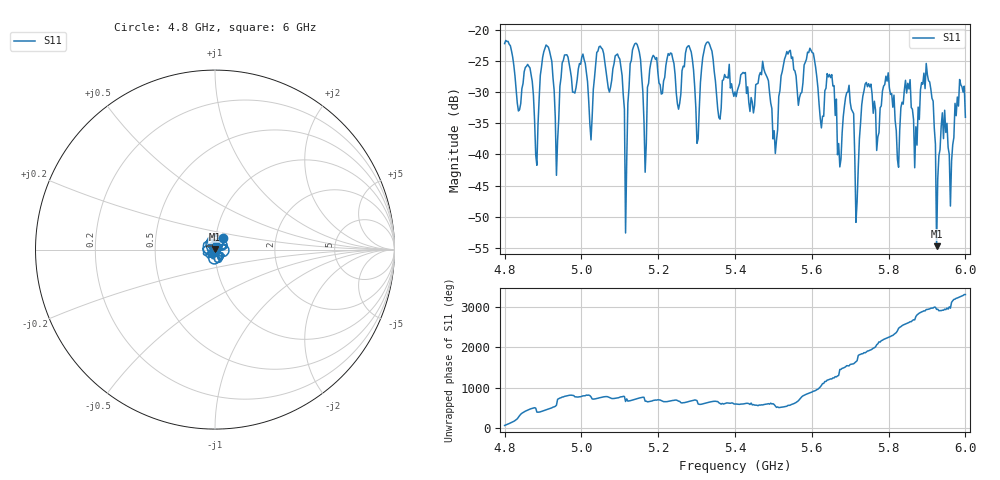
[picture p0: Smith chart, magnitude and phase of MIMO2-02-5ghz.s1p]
! NanoVNA-App
! Date: 2026-05-22 19:23:52
! Start: 4.8GHz Stop: 6GHz Points: 401
! S-Parameter data: F S11
# Hz S RI R 50
!  Frequency  S11_Real  S11_Imag
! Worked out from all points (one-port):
!   401 points, 4.8 GHz to 6 GHz, reference 50 ohm
!   lowest |S11| = -54.7 dB at 5.925 GHz (marker M1), VSWR 1.00, Z = 50.1 + j0.17 ohm
!   |S11| at or under -10 dB: start of sweep to end of sweep
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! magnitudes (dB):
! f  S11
! 4.8 GHz  -22.2
! 4.884 GHz  -41.7
! 4.905 GHz  -23.0
! 4.935 GHz  -43.3
! 4.95 GHz  -25.3
! 5.1 GHz  -24.7
! 5.115 GHz  -52.6
! 5.139 GHz  -22.2
! 5.166 GHz  -42.8
! 5.19 GHz  -24.3
! 5.25 GHz  -31.8
! 5.28 GHz  -22.5
! 5.304 GHz  -37.5
! 5.328 GHz  -21.9
! 5.4 GHz  -30.0
! 5.478 GHz  -26.9
! 5.505 GHz  -39.8
! 5.55 GHz  -24.4
! 5.652 GHz  -27.2
! 5.673 GHz  -42.0
! 5.7 GHz  -31.6
! 5.718 GHz  -47.5
! 5.742 GHz  -28.4
! 5.823 GHz  -40.8
! 5.85 GHz  -28.6
! 5.904 GHz  -28.2
! 5.925 GHz  -54.7
! 6 GHz  -34.0
